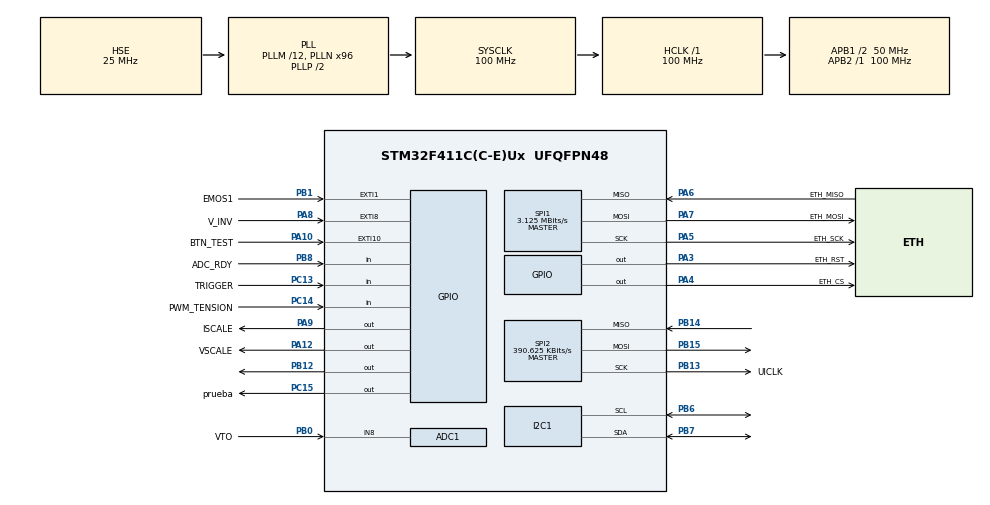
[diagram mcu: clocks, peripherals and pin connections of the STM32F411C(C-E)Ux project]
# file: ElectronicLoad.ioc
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ADC1.Channel-0\#ChannelRegularConversion=ADC_CHANNEL_8
ADC1.ContinuousConvMode=ENABLE
ADC1.NbrOfConversion=1
ADC1.NbrOfConversionFlag=1
ADC1.Rank-0\#ChannelRegularConversion=1
ADC1.SamplingTime-0\#ChannelRegularConversion=ADC_SAMPLETIME_3CYCLES
ADC1.master=1
FREERTOS.BinarySemaphores01=sph_pid_mediciones,Dynamic,NULL;sph_eth_mediciones,Dynamic,NULL;sph_ctrl_curva,Dynamic,NULL
FREERTOS.INCLUDE_vTaskDelayUntil=1
FREERTOS.Tasks01=defaultTask,0,256,StartDefaultTask,Default,NULL,Dynamic,NULL,NULL;medicion,1,256,medicion_variables,Default,NULL,Dynamic,NULL,NULL;comunicacion,-1,512,comunicacion_spi,Default,NULL,Dynamic,NULL,NULL;pid_task,1,256,pid_control,Default,NULL,Dynamic,NULL,NULL;Task_eth,0,4096,eth_task,Default,NULL,Dynamic,NULL,NULL;control_curva,2,256,cb_control_curva,Default,NULL,Dynamic,NULL,NULL
FREERTOS.configCHECK_FOR_STACK_OVERFLOW=0
FREERTOS.configTOTAL_HEAP_SIZE=32768
FREERTOS.configUSE_IDLE_HOOK=0
Mcu.Family=STM32F4
Mcu.Name=STM32F411C(C-E)Ux
Mcu.Package=UFQFPN48
NVIC.EXTI15_10_IRQn=true\:6\:0\:true\:false\:true\:true\:true\:true\:true
NVIC.EXTI1_IRQn=true\:6\:0\:true\:false\:true\:true\:true\:true\:true
NVIC.EXTI9_5_IRQn=true\:5\:0\:true\:false\:true\:true\:true\:true\:true
NVIC.PriorityGroup=NVIC_PRIORITYGROUP_4
PA10.GPIO_Label=BTN_TEST
PA10.GPIO_ModeDefaultEXTI=GPIO_MODE_IT_RISING_FALLING
PA10.GPIO_PuPd=GPIO_PULLUP
PA10.Signal=GPXTI10
PA12.GPIO_Label=VSCALE
PA12.Signal=GPIO_Output
PA13.Mode=Serial_Wire
PA13.Signal=SYS_JTMS-SWDIO
PA14.Mode=Serial_Wire
PA14.Signal=SYS_JTCK-SWCLK
PA3.GPIO_Label=ETH_RST
PA3.GPIO_PuPd=GPIO_PULLUP
PA3.GPIO_Speed=GPIO_SPEED_FREQ_HIGH
PA3.PinState=GPIO_PIN_SET
PA3.Signal=GPIO_Output
PA4.GPIO_Label=ETH_CS
PA4.GPIO_Speed=GPIO_SPEED_FREQ_HIGH
PA4.Signal=GPIO_Output
PA5.GPIO_Label=ETH_SCK
PA5.Mode=Full_Duplex_Master
PA5.Signal=SPI1_SCK
PA6.GPIO_Label=ETH_MISO
PA6.Mode=Full_Duplex_Master
PA6.Signal=SPI1_MISO
PA7.GPIO_Label=ETH_MOSI
PA7.Mode=Full_Duplex_Master
PA7.Signal=SPI1_MOSI
PA8.GPIO_Label=V_INV
PA8.GPIO_ModeDefaultEXTI=GPIO_MODE_IT_RISING_FALLING
PA8.GPIO_PuPd=GPIO_NOPULL
PA8.Signal=GPXTI8
PA9.GPIO_Label=ISCALE
PA9.Signal=GPIO_Output
PB0.GPIO_Label=VTO
PB0.Signal=ADCx_IN8
PB1.GPIO_Label=EMOS1
PB1.GPIO_ModeDefaultEXTI=GPIO_MODE_IT_RISING_FALLING
PB1.GPIO_PuPd=GPIO_PULLDOWN
PB1.Signal=GPXTI1
PB12.PinState=GPIO_PIN_RESET
PB12.Signal=GPIO_Output
PB13.GPIO_Label=UICLK
PB13.Mode=Full_Duplex_Master
PB13.Signal=SPI2_SCK
PB14.Mode=Full_Duplex_Master
PB14.Signal=SPI2_MISO
PB15.Mode=Full_Duplex_Master
PB15.Signal=SPI2_MOSI
PB6.Mode=I2C
PB6.Signal=I2C1_SCL
PB7.Mode=I2C
PB7.Signal=I2C1_SDA
PB8.GPIO_Label=ADC_RDY
PB8.GPIO_PuPd=GPIO_PULLUP
PB8.Signal=GPIO_Input
PC13-ANTI_TAMP.GPIO_Label=TRIGGER
PC13-ANTI_TAMP.Signal=GPIO_Input
PC14-OSC32_IN.GPIO_Label=PWM_TENSION
PC14-OSC32_IN.Signal=GPIO_Input
PC15-OSC32_OUT.GPIO_Label=prueba
PC15-OSC32_OUT.Signal=GPIO_Output
PH0\ -\ OSC_IN.Mode=HSE-External-Oscillator
PH0\ -\ OSC_IN.Signal=RCC_OSC_IN
PH1\ -\ OSC_OUT.Mode=HSE-External-Oscillator
PH1\ -\ OSC_OUT.Signal=RCC_OSC_OUT
ProjectManager.HeapSize=0x200
ProjectManager.StackSize=0x400
ProjectManager.TargetToolchain=STM32CubeIDE
RCC.48MHZClocksFreq_Value=50000000
RCC.AHBFreq_Value=100000000
RCC.APB1CLKDivider=RCC_HCLK_DIV2
RCC.APB1Freq_Value=50000000
RCC.APB1TimFreq_Value=100000000
RCC.APB2Freq_Value=100000000
RCC.APB2TimFreq_Value=100000000
RCC.CortexFreq_Value=100000000
RCC.HCLKFreq_Value=100000000
RCC.HSE_VALUE=25000000
RCC.HSI_VALUE=16000000
RCC.LSE_VALUE=32768
RCC.PLLM=12
RCC.PLLN=96
RCC.PLLSourceVirtual=RCC_PLLSOURCE_HSE
RCC.SYSCLKFreq_VALUE=100000000
RCC.SYSCLKSource=RCC_SYSCLKSOURCE_PLLCLK
RCC.VCOOutputFreq_Value=200000000
RTC.Date=12
RTC.Format=RTC_FORMAT_BIN
RTC.Hours=23
RTC.Minutes=17
RTC.Month=RTC_MONTH_FEBRUARY
RTC.Seconds=10
RTC.Year=24
SH.ADCx_IN8.0=ADC1_IN8,IN8
SPI1.BaudRatePrescaler=SPI_BAUDRATEPRESCALER_32
SPI1.CalculateBaudRate=3.125 MBits/s
SPI1.Direction=SPI_DIRECTION_2LINES
SPI1.Mode=SPI_MODE_MASTER
SPI1.VirtualType=VM_MASTER
SPI2.BaudRatePrescaler=SPI_BAUDRATEPRESCALER_128
SPI2.CLKPhase=SPI_PHASE_1EDGE
SPI2.CLKPolarity=SPI_POLARITY_LOW
SPI2.CalculateBaudRate=390.625 KBits/s
SPI2.DataSize=SPI_DATASIZE_8BIT
SPI2.Direction=SPI_DIRECTION_2LINES
SPI2.FirstBit=SPI_FIRSTBIT_MSB
SPI2.Mode=SPI_MODE_MASTER
SPI2.VirtualType=VM_MASTER
TIM2.Channel-PWM\ Generation1\ No\ Output=TIM_CHANNEL_1
VP_FREERTOS_VS_CMSIS_V1.Mode=CMSIS_V1
VP_RTC_VS_RTC_Activate.Mode=RTC_Enabled
VP_RTC_VS_RTC_Calendar.Mode=RTC_Calendar
VP_TIM2_VS_ClockSourceINT.Mode=Internal
VP_TIM2_VS_no_output1.Mode=PWM Generation1 No Output
board=custom

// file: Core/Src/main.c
/* USER CODE BEGIN Header */
/**
 ******************************************************************************
 * @file           : main.c
 * @brief          : Main program body
 ******************************************************************************
 * @attention
 *
 * Copyright (c) 2023 STMicroelectronics.
 * All rights reserved.
 *
 * This software is licensed under terms that can be found in the LICENSE file
 * in the root directory of this software component.
 * If no LICENSE file comes with this software, it is provided AS-IS.
 *
 ******************************************************************************
 */
/* USER CODE END Header */
#include "main.h"
#include "cmsis_os.h"

/* USER CODE BEGIN Includes */
#include "stdio.h"
#include "stdbool.h"
#include "stdlib.h"
#include "string.h"
#include "adc_function.h"

/* USER CODE END Includes */

/* USER CODE BEGIN PTD */
/* Modos funcionamiento carga electronica */
enum modos_carga
{
    m_apagado = 0,
    m_corriente_off,
	m_corriente_on,
    m_tension_off,
	m_tension_on,
    m_potencia_off,
	m_potencia_on,
	m_corriente_curva_off,
	m_corriente_curva_on,
	m_max
};
/* Errores que puede detectar la carga electronica */
union errores_carga{
	struct {
		uint8_t e_polaridadinversa :1;
		uint8_t e_mosfet:1;
		uint8_t e_expansion:1;
		uint8_t e_eth:1;
		uint8_t e_control:1;
		uint8_t e_temp:1;
		uint8_t e_corriente:1;
		uint8_t e_tension:1;
		uint8_t e_potencia:1;
	};
	uint32_t completo;
};
/* Estructura estado modo de la carga electronica */
/* valor para corriente_constante en mA */
typedef struct
{
  enum modos_carga modo;        /* Modo de trabajo de la carga electronica */
  union errores_carga error;	/* Errores carga electronica */
  uint32_t valorTension;   		/* Valor de Tension de la carga electronica */
  uint32_t valorCorriente; 		/* Valor de Corriente de la carga electronica */
  uint32_t valorPotencia;  		/* Set point Potencia de la carga electronica */
  uint32_t setPoint;       		/* Set point de la carga electronica */
  char flagTrigger;
  char flagFecha;
  uint32_t temperatura;

} CARGA_HandleTypeDef;

/* Estructura mediciones de la carga electronica */
typedef struct{
	float tension;
	float corriente;
	float potencia;
} MEDICIONES_TypeDef;

/* Estructura pid */
typedef struct{
	uint32_t referencia;
	enum modos_carga modo;

} PID_TypeDef;

/* USER CODE END PTD */

/* USER CODE BEGIN PD */
// Definiciones DAC - MCP4725
#define MCP4725_ADDR 0b1100000 << 1
#define MASK_DAC_READ 0b00001111

// Definiciones PID
#define PID_A 0.12
#define PID_B 0.08
#define PID_C 0.01
#define PID_MAX 3000
#define PID_MIN 0
#define PID_SETPOINT 0.0

/* USER CODE END PD */

ADC_HandleTypeDef hadc1;

I2C_HandleTypeDef hi2c1;

RTC_HandleTypeDef hrtc;

SPI_HandleTypeDef hspi1;
SPI_HandleTypeDef hspi2;

TIM_HandleTypeDef htim2;

osThreadId defaultTaskHandle;
osThreadId medicionHandle;
osThreadId comunicacionHandle;
osThreadId pid_taskHandle;
osThreadId Task_ethHandle;
osThreadId control_curvaHandle;
osSemaphoreId sph_pid_medicionesHandle;
osSemaphoreId sph_eth_medicionesHandle;
osSemaphoreId sph_ctrl_curvaHandle;
/* USER CODE BEGIN PV */

//mpool y cola para transmision de datos a GUI
osPoolDef(mpool, 5, char[21]); // Define memory pool
osPoolId mpool;
osMessageQDef(colaSPI_TX, 5, uint32_t); // Define message queue
osMessageQId colaSPI_TX;

//mpool y cola para transmision de datos a tarea Carga control
osPoolDef(mpoolCARGA_Handle, 5, CARGA_HandleTypeDef); // Define memory pool
osPoolId mpoolCARGA_Handle;
osMessageQDef(colaCARGA, 5, uint32_t); // Define message queue
osMessageQId colaCARGA;

//mpool y cola para transmision de mediciones corriente, tension y potencia
osPoolDef(mpoolMediciones_pid, 5, MEDICIONES_TypeDef); // Define memory pool
osPoolId mpoolMediciones_pid;
osPoolDef(mpoolMediciones, 1, MEDICIONES_TypeDef); // Define memory pool
osPoolId mpoolMediciones;
osPoolDef(mpoolMediciones_eth, 1, MEDICIONES_TypeDef); // Define memory pool
osPoolId mpoolMediciones_eth;
osMessageQDef(colaMediciones, 1, uint32_t); // Define message queue
osMessageQId colaMediciones;
osMessageQDef(colaMediciones_pid, 1, uint32_t); // Define message queue
osMessageQId colaMediciones_pid;
osMessageQDef(colaMediciones_eth, 1, uint32_t); // Define message queue
osMessageQId colaMediciones_eth;

//mpool y cola para transmision de setpoint y modo a pid
osPoolDef(mpoolPID, 15, PID_TypeDef); // Define memory pool
osPoolId mpoolPID;
osMessageQDef(colaPID,15,uint32_t); // Define message queue
osMessageQId colaPID;

//cola para transmision de errores a tarea Carga control
osMessageQDef(colaErrores,5,uint32_t);// Define message queue
osMessageQId colaErrores;

//cola con datos para curva
osPoolDef(mpoolCurva,1,char[100]);
osPoolId mpoolCurva;
osMessageQDef(colaCurva,1,uint32_t);
osMessageQId colaCurva;

// Definiciones para RTC
RTC_TimeTypeDef sTime;
RTC_DateTypeDef sDate;

/* USER CODE END PV */

void SystemClock_Config(void);
static void MX_GPIO_Init(void);
static void MX_ADC1_Init(void);
static void MX_I2C1_Init(void);
static void MX_SPI2_Init(void);
static void MX_RTC_Init(void);
static void MX_SPI1_Init(void);
static void MX_TIM2_Init(void);
void StartDefaultTask(void const * argument);
void medicion_variables(void const * argument);
void comunicacion_spi(void const * argument);
void pid_control(void const * argument);
void eth_task(void const * argument);
void cb_control_curva(void const * argument);

/* USER CODE BEGIN PFP */
/* Prototipos funciones DAC MCP4725 I2C */
void DAC_init(void);
void DAC_set(float setPoint);

/* Prototipos funciones ethernet */
extern void httpServer_run(uint8_t seqnum);
extern void eth_start(void);

/* Prototipos tareas */
void eth_task (void const * argument); //tarea ethernet
/* USER CODE END PFP */

int main(void)
{

  /* MCU Configuration--------------------------------------------------------*/

  /* Reset of all peripherals, Initializes the Flash interface and the Systick. */
  HAL_Init();

  /* Configure the system clock */
  SystemClock_Config();

  /* Initialize all configured peripherals */
  MX_GPIO_Init();
  MX_ADC1_Init();
  MX_I2C1_Init();
  MX_SPI2_Init();
  MX_RTC_Init();
  MX_SPI1_Init();
  MX_TIM2_Init();

  /* Create the semaphores(s) */
  /* definition and creation of sph_pid_mediciones */
  osSemaphoreDef(sph_pid_mediciones);
  sph_pid_medicionesHandle = osSemaphoreCreate(osSemaphore(sph_pid_mediciones), 1);

  /* definition and creation of sph_eth_mediciones */
  osSemaphoreDef(sph_eth_mediciones);
  sph_eth_medicionesHandle = osSemaphoreCreate(osSemaphore(sph_eth_mediciones), 1);

  /* definition and creation of sph_ctrl_curva */
  osSemaphoreDef(sph_ctrl_curva);
  sph_ctrl_curvaHandle = osSemaphoreCreate(osSemaphore(sph_ctrl_curva), 1);

  /* USER CODE BEGIN RTOS_QUEUES */
  /* add queues, ... */
  mpool = osPoolCreate(osPool(mpool));                        // create memory pool
  colaSPI_TX = osMessageCreate(osMessageQ(colaSPI_TX), NULL); // create colaSPI_TX queue

  mpoolCARGA_Handle = osPoolCreate(osPool(mpoolCARGA_Handle));// create memory pool
  colaCARGA = osMessageCreate(osMessageQ(colaCARGA), NULL); // create colaCARGA queue

  mpoolMediciones = osPoolCreate(osPool(mpoolMediciones));// create memory pool
  mpoolMediciones_pid = osPoolCreate(osPool(mpoolMediciones_pid));// create memory pool
  mpoolMediciones_eth = osPoolCreate(osPool(mpoolMediciones_eth));// create memory pool

  colaMediciones = osMessageCreate(osMessageQ(colaMediciones), NULL); // create colaMediciones queue
  colaMediciones_pid = osMessageCreate(osMessageQ(colaMediciones_pid), NULL); // create colaMediciones_pid queue
  colaMediciones_eth = osMessageCreate(osMessageQ(colaMediciones_eth), NULL); // create colaMediciones_pid queue

  mpoolPID = osPoolCreate(osPool(mpoolPID));// create memory pool
  colaPID = osMessageCreate(osMessageQ(colaPID), NULL);// create colaPID queue

  colaErrores = osMessageCreate(osMessageQ(colaErrores), NULL);// Create colaErrores queue

  mpoolCurva = osPoolCreate(osPool(mpoolCurva)); // create memory pool
  colaCurva = osMessageCreate(osMessageQ(colaCurva), NULL);
  /* USER CODE END RTOS_QUEUES */

  /* Create the thread(s) */
  /* definition and creation of defaultTask */
  osThreadDef(defaultTask, StartDefaultTask, osPriorityNormal, 0, 256);
  defaultTaskHandle = osThreadCreate(osThread(defaultTask), NULL);

  /* definition and creation of medicion */
  osThreadDef(medicion, medicion_variables, osPriorityAboveNormal, 0, 256);
  medicionHandle = osThreadCreate(osThread(medicion), NULL);

  /* definition and creation of comunicacion */
  osThreadDef(comunicacion, comunicacion_spi, osPriorityBelowNormal, 0, 512);
  comunicacionHandle = osThreadCreate(osThread(comunicacion), NULL);

  /* definition and creation of pid_task */
  osThreadDef(pid_task, pid_control, osPriorityAboveNormal, 0, 256);
  pid_taskHandle = osThreadCreate(osThread(pid_task), NULL);

  /* definition and creation of Task_eth */
  osThreadDef(Task_eth, eth_task, osPriorityNormal, 0, 4096);
  Task_ethHandle = osThreadCreate(osThread(Task_eth), NULL);

  /* definition and creation of control_curva */
  osThreadDef(control_curva, cb_control_curva, osPriorityHigh, 0, 256);
  control_curvaHandle = osThreadCreate(osThread(control_curva), NULL);

  /* Start scheduler */
  osKernelStart();

  /* We should never get here as control is now taken by the scheduler */
  /* Infinite loop */
  while (1)
  {

  }
}

void SystemClock_Config(void)
{
  RCC_OscInitTypeDef RCC_OscInitStruct = {0};
  RCC_ClkInitTypeDef RCC_ClkInitStruct = {0};

  /** Configure the main internal regulator output voltage
  */
  __HAL_RCC_PWR_CLK_ENABLE();
  __HAL_PWR_VOLTAGESCALING_CONFIG(PWR_REGULATOR_VOLTAGE_SCALE1);

  /** Initializes the RCC Oscillators according to the specified parameters
  * in the RCC_OscInitTypeDef structure.
  */
  RCC_OscInitStruct.OscillatorType = RCC_OSCILLATORTYPE_LSI|RCC_OSCILLATORTYPE_HSE;
  RCC_OscInitStruct.HSEState = RCC_HSE_ON;
  RCC_OscInitStruct.LSIState = RCC_LSI_ON;
  RCC_OscInitStruct.PLL.PLLState = RCC_PLL_ON;
  RCC_OscInitStruct.PLL.PLLSource = RCC_PLLSOURCE_HSE;
  RCC_OscInitStruct.PLL.PLLM = 12;
  RCC_OscInitStruct.PLL.PLLN = 96;
  RCC_OscInitStruct.PLL.PLLP = RCC_PLLP_DIV2;
  RCC_OscInitStruct.PLL.PLLQ = 4;
  if (HAL_RCC_OscConfig(&RCC_OscInitStruct) != HAL_OK)
  {
    Error_Handler();
  }

  /** Initializes the CPU, AHB and APB buses clocks
  */
  RCC_ClkInitStruct.ClockType = RCC_CLOCKTYPE_HCLK|RCC_CLOCKTYPE_SYSCLK
                              |RCC_CLOCKTYPE_PCLK1|RCC_CLOCKTYPE_PCLK2;
  RCC_ClkInitStruct.SYSCLKSource = RCC_SYSCLKSOURCE_PLLCLK;
  RCC_ClkInitStruct.AHBCLKDivider = RCC_SYSCLK_DIV1;
  RCC_ClkInitStruct.APB1CLKDivider = RCC_HCLK_DIV2;
  RCC_ClkInitStruct.APB2CLKDivider = RCC_HCLK_DIV1;

  if (HAL_RCC_ClockConfig(&RCC_ClkInitStruct, FLASH_LATENCY_3) != HAL_OK)
  {
    Error_Handler();
  }
}

static void MX_ADC1_Init(void)
{

  ADC_ChannelConfTypeDef sConfig = {0};

  /** Configure the global features of the ADC (Clock, Resolution, Data Alignment and number of conversion)
  */
  hadc1.Instance = ADC1;
  hadc1.Init.ClockPrescaler = ADC_CLOCK_SYNC_PCLK_DIV4;
  hadc1.Init.Resolution = ADC_RESOLUTION_12B;
  hadc1.Init.ScanConvMode = DISABLE;
  hadc1.Init.ContinuousConvMode = ENABLE;
  hadc1.Init.DiscontinuousConvMode = DISABLE;
  hadc1.Init.ExternalTrigConvEdge = ADC_EXTERNALTRIGCONVEDGE_NONE;
  hadc1.Init.ExternalTrigConv = ADC_SOFTWARE_START;
  hadc1.Init.DataAlign = ADC_DATAALIGN_RIGHT;
  hadc1.Init.NbrOfConversion = 1;
  hadc1.Init.DMAContinuousRequests = DISABLE;
  hadc1.Init.EOCSelection = ADC_EOC_SINGLE_CONV;
  if (HAL_ADC_Init(&hadc1) != HAL_OK)
  {
    Error_Handler();
  }

  /** Configure for the selected ADC regular channel its corresponding rank in the sequencer and its sample time.
  */
  sConfig.Channel = ADC_CHANNEL_8;
  sConfig.Rank = 1;
  sConfig.SamplingTime = ADC_SAMPLETIME_3CYCLES;
  if (HAL_ADC_ConfigChannel(&hadc1, &sConfig) != HAL_OK)
  {
    Error_Handler();
  }

}

static void MX_I2C1_Init(void)
{

  hi2c1.Instance = I2C1;
  hi2c1.Init.ClockSpeed = 100000;
  hi2c1.Init.DutyCycle = I2C_DUTYCYCLE_2;
  hi2c1.Init.OwnAddress1 = 0;
  hi2c1.Init.AddressingMode = I2C_ADDRESSINGMODE_7BIT;
  hi2c1.Init.DualAddressMode = I2C_DUALADDRESS_DISABLE;
  hi2c1.Init.OwnAddress2 = 0;
  hi2c1.Init.GeneralCallMode = I2C_GENERALCALL_DISABLE;
  hi2c1.Init.NoStretchMode = I2C_NOSTRETCH_DISABLE;
  if (HAL_I2C_Init(&hi2c1) != HAL_OK)
  {
    Error_Handler();
  }

}

static void MX_RTC_Init(void)
{

  RTC_TimeTypeDef sTime = {0};
  RTC_DateTypeDef sDate = {0};

  /** Initialize RTC Only
  */
  hrtc.Instance = RTC;
  hrtc.Init.HourFormat = RTC_HOURFORMAT_24;
  hrtc.Init.AsynchPrediv = 127;
  hrtc.Init.SynchPrediv = 255;
  hrtc.Init.OutPut = RTC_OUTPUT_DISABLE;
  hrtc.Init.OutPutPolarity = RTC_OUTPUT_POLARITY_HIGH;
  hrtc.Init.OutPutType = RTC_OUTPUT_TYPE_OPENDRAIN;
  if (HAL_RTC_Init(&hrtc) != HAL_OK)
  {
    Error_Handler();
  }

  /** Initialize RTC and set the Time and Date
  */
  sTime.Hours = 23;
  sTime.Minutes = 17;
  sTime.Seconds = 10;
  sTime.DayLightSaving = RTC_DAYLIGHTSAVING_NONE;
  sTime.StoreOperation = RTC_STOREOPERATION_RESET;
  if (HAL_RTC_SetTime(&hrtc, &sTime, RTC_FORMAT_BIN) != HAL_OK)
  {
    Error_Handler();
  }
  sDate.WeekDay = RTC_WEEKDAY_MONDAY;
  sDate.Month = RTC_MONTH_FEBRUARY;
  sDate.Date = 12;
  sDate.Year = 24;

  if (HAL_RTC_SetDate(&hrtc, &sDate, RTC_FORMAT_BIN) != HAL_OK)
  {
    Error_Handler();
  }

}

static void MX_SPI1_Init(void)
{

  /* SPI1 parameter configuration*/
  hspi1.Instance = SPI1;
  hspi1.Init.Mode = SPI_MODE_MASTER;
  hspi1.Init.Direction = SPI_DIRECTION_2LINES;
  hspi1.Init.DataSize = SPI_DATASIZE_8BIT;
  hspi1.Init.CLKPolarity = SPI_POLARITY_LOW;
  hspi1.Init.CLKPhase = SPI_PHASE_1EDGE;
  hspi1.Init.NSS = SPI_NSS_SOFT;
  hspi1.Init.BaudRatePrescaler = SPI_BAUDRATEPRESCALER_32;
  hspi1.Init.FirstBit = SPI_FIRSTBIT_MSB;
  hspi1.Init.TIMode = SPI_TIMODE_DISABLE;
  hspi1.Init.CRCCalculation = SPI_CRCCALCULATION_DISABLE;
  hspi1.Init.CRCPolynomial = 10;
  if (HAL_SPI_Init(&hspi1) != HAL_OK)
  {
    Error_Handler();
  }

}

static void MX_SPI2_Init(void)
{

  /* SPI2 parameter configuration*/
  hspi2.Instance = SPI2;
  hspi2.Init.Mode = SPI_MODE_MASTER;
  hspi2.Init.Direction = SPI_DIRECTION_2LINES;
  hspi2.Init.DataSize = SPI_DATASIZE_8BIT;
  hspi2.Init.CLKPolarity = SPI_POLARITY_LOW;
  hspi2.Init.CLKPhase = SPI_PHASE_1EDGE;
  hspi2.Init.NSS = SPI_NSS_SOFT;
  hspi2.Init.BaudRatePrescaler = SPI_BAUDRATEPRESCALER_128;
  hspi2.Init.FirstBit = SPI_FIRSTBIT_MSB;
  hspi2.Init.TIMode = SPI_TIMODE_DISABLE;
  hspi2.Init.CRCCalculation = SPI_CRCCALCULATION_DISABLE;
  hspi2.Init.CRCPolynomial = 10;
  if (HAL_SPI_Init(&hspi2) != HAL_OK)
  {
    Error_Handler();
  }

}

static void MX_TIM2_Init(void)
{

  TIM_ClockConfigTypeDef sClockSourceConfig = {0};
  TIM_MasterConfigTypeDef sMasterConfig = {0};
  TIM_OC_InitTypeDef sConfigOC = {0};

  htim2.Instance = TIM2;
  htim2.Init.Prescaler = 0;
  htim2.Init.CounterMode = TIM_COUNTERMODE_UP;
  htim2.Init.Period = 4294967295;
  htim2.Init.ClockDivision = TIM_CLOCKDIVISION_DIV1;
  htim2.Init.AutoReloadPreload = TIM_AUTORELOAD_PRELOAD_DISABLE;
  if (HAL_TIM_Base_Init(&htim2) != HAL_OK)
  {
    Error_Handler();
  }
  sClockSourceConfig.ClockSource = TIM_CLOCKSOURCE_INTERNAL;
  if (HAL_TIM_ConfigClockSource(&htim2, &sClockSourceConfig) != HAL_OK)
  {
    Error_Handler();
  }
  if (HAL_TIM_PWM_Init(&htim2) != HAL_OK)
  {
    Error_Handler();
  }
  sMasterConfig.MasterOutputTrigger = TIM_TRGO_RESET;
  sMasterConfig.MasterSlaveMode = TIM_MASTERSLAVEMODE_DISABLE;
  if (HAL_TIMEx_MasterConfigSynchronization(&htim2, &sMasterConfig) != HAL_OK)
  {
    Error_Handler();
  }
  sConfigOC.OCMode = TIM_OCMODE_PWM1;
  sConfigOC.Pulse = 0;
  sConfigOC.OCPolarity = TIM_OCPOLARITY_HIGH;
  sConfigOC.OCFastMode = TIM_OCFAST_DISABLE;
  if (HAL_TIM_PWM_ConfigChannel(&htim2, &sConfigOC, TIM_CHANNEL_1) != HAL_OK)
  {
    Error_Handler();
  }

}

static void MX_GPIO_Init(void)
{
  GPIO_InitTypeDef GPIO_InitStruct = {0};

  /* GPIO Ports Clock Enable */
  __HAL_RCC_GPIOC_CLK_ENABLE();
  __HAL_RCC_GPIOH_CLK_ENABLE();
  __HAL_RCC_GPIOA_CLK_ENABLE();
  __HAL_RCC_GPIOB_CLK_ENABLE();

  /*Configure GPIO pin Output Level */
  HAL_GPIO_WritePin(prueba_GPIO_Port, prueba_Pin, GPIO_PIN_RESET);

  /*Configure GPIO pin Output Level */
  HAL_GPIO_WritePin(ETH_RST_GPIO_Port, ETH_RST_Pin, GPIO_PIN_SET);

  /*Configure GPIO pin Output Level */
  HAL_GPIO_WritePin(GPIOA, ETH_CS_Pin|ISCALE_Pin|VSCALE_Pin, GPIO_PIN_RESET);

  /*Configure GPIO pin Output Level */
  HAL_GPIO_WritePin(GPIOB, GPIO_PIN_12, GPIO_PIN_RESET);

  /*Configure GPIO pins : TRIGGER_Pin PWM_TENSION_Pin */
  GPIO_InitStruct.Pin = TRIGGER_Pin|PWM_TENSION_Pin;
  GPIO_InitStruct.Mode = GPIO_MODE_INPUT;
  GPIO_InitStruct.Pull = GPIO_NOPULL;
  HAL_GPIO_Init(GPIOC, &GPIO_InitStruct);

  /*Configure GPIO pin : prueba_Pin */
  GPIO_InitStruct.Pin = prueba_Pin;
  GPIO_InitStruct.Mode = GPIO_MODE_OUTPUT_PP;
  GPIO_InitStruct.Pull = GPIO_NOPULL;
  GPIO_InitStruct.Speed = GPIO_SPEED_FREQ_LOW;
  HAL_GPIO_Init(prueba_GPIO_Port, &GPIO_InitStruct);

  /*Configure GPIO pin : ETH_RST_Pin */
  GPIO_InitStruct.Pin = ETH_RST_Pin;
  GPIO_InitStruct.Mode = GPIO_MODE_OUTPUT_PP;
  GPIO_InitStruct.Pull = GPIO_PULLUP;
  GPIO_InitStruct.Speed = GPIO_SPEED_FREQ_HIGH;
  HAL_GPIO_Init(ETH_RST_GPIO_Port, &GPIO_InitStruct);

  /*Configure GPIO pin : ETH_CS_Pin */
  GPIO_InitStruct.Pin = ETH_CS_Pin;
  GPIO_InitStruct.Mode = GPIO_MODE_OUTPUT_PP;
  GPIO_InitStruct.Pull = GPIO_NOPULL;
  GPIO_InitStruct.Speed = GPIO_SPEED_FREQ_HIGH;
  HAL_GPIO_Init(ETH_CS_GPIO_Port, &GPIO_InitStruct);

  /*Configure GPIO pin : EMOS1_Pin */
  GPIO_InitStruct.Pin = EMOS1_Pin;
  GPIO_InitStruct.Mode = GPIO_MODE_IT_RISING_FALLING;
  GPIO_InitStruct.Pull = GPIO_PULLDOWN;
  HAL_GPIO_Init(EMOS1_GPIO_Port, &GPIO_InitStruct);

  /*Configure GPIO pin : PB12 */
  GPIO_InitStruct.Pin = GPIO_PIN_12;
  GPIO_InitStruct.Mode = GPIO_MODE_OUTPUT_PP;
  GPIO_InitStruct.Pull = GPIO_NOPULL;
  GPIO_InitStruct.Speed = GPIO_SPEED_FREQ_LOW;
  HAL_GPIO_Init(GPIOB, &GPIO_InitStruct);

  /*Configure GPIO pin : V_INV_Pin */
  GPIO_InitStruct.Pin = V_INV_Pin;
  GPIO_InitStruct.Mode = GPIO_MODE_IT_RISING_FALLING;
  GPIO_InitStruct.Pull = GPIO_NOPULL;
  HAL_GPIO_Init(V_INV_GPIO_Port, &GPIO_InitStruct);

  /*Configure GPIO pins : ISCALE_Pin VSCALE_Pin */
  GPIO_InitStruct.Pin = ISCALE_Pin|VSCALE_Pin;
  GPIO_InitStruct.Mode = GPIO_MODE_OUTPUT_PP;
  GPIO_InitStruct.Pull = GPIO_NOPULL;
  GPIO_InitStruct.Speed = GPIO_SPEED_FREQ_LOW;
  HAL_GPIO_Init(GPIOA, &GPIO_InitStruct);

  /*Configure GPIO pin : BTN_TEST_Pin */
  GPIO_InitStruct.Pin = BTN_TEST_Pin;
  GPIO_InitStruct.Mode = GPIO_MODE_IT_RISING_FALLING;
  GPIO_InitStruct.Pull = GPIO_PULLUP;
  HAL_GPIO_Init(BTN_TEST_GPIO_Port, &GPIO_InitStruct);

  /*Configure GPIO pin : ADC_RDY_Pin */
  GPIO_InitStruct.Pin = ADC_RDY_Pin;
  GPIO_InitStruct.Mode = GPIO_MODE_INPUT;
  GPIO_InitStruct.Pull = GPIO_PULLUP;
  HAL_GPIO_Init(ADC_RDY_GPIO_Port, &GPIO_InitStruct);

  /* EXTI interrupt init*/
  HAL_NVIC_SetPriority(EXTI1_IRQn, 6, 0);
  HAL_NVIC_EnableIRQ(EXTI1_IRQn);

  HAL_NVIC_SetPriority(EXTI9_5_IRQn, 5, 0);
  HAL_NVIC_EnableIRQ(EXTI9_5_IRQn);

  HAL_NVIC_SetPriority(EXTI15_10_IRQn, 6, 0);
  HAL_NVIC_EnableIRQ(EXTI15_10_IRQn);

}

/* USER CODE BEGIN 4 */
/**
 * @brief DAC Inicializacion
 * @param None
 * @retval None
 */
void DAC_init(void)
{
  // Leer EEPROM y checkear que este en 0; Sino cambiarlo.
  uint16_t i2cRX;

  uint8_t buffer[5];
  memset(buffer, 0, 5);
  HAL_I2C_Master_Transmit(&hi2c1, MCP4725_ADDR, buffer, 2, HAL_MAX_DELAY);
  HAL_I2C_Master_Receive(&hi2c1, MCP4725_ADDR, buffer, 5, HAL_MAX_DELAY);
  // Cargo el valor recibido del buffer a una variable para tener el valor de la eeprom.
  i2cRX = (buffer[3] << 8) | buffer[4];
  // Mascareo de rutix
  i2cRX &= MASK_DAC_READ;

  // Si el valor de la eeprom no es 0 lo cargo.
  if (i2cRX)
  {
    buffer[0] = 0b01100000;
    buffer[1] = 0;
    buffer[2] = 0;
    HAL_I2C_Master_Transmit(&hi2c1, MCP4725_ADDR, buffer, 3, HAL_MAX_DELAY);
    do
    {
      i2cRX = HAL_I2C_Master_Receive(&hi2c1, MCP4725_ADDR, buffer, 1, HAL_MAX_DELAY) && 0b10000000;
    } while (!i2cRX);
  }
  else
  {
    // Reset
    buffer[0] = 0;
    buffer[1] = 0;
    HAL_I2C_Master_Transmit(&hi2c1, MCP4725_ADDR, buffer, 2, HAL_MAX_DELAY);
  }
}

/**
 * @brief DAC Set
 * @param Setpoint - valor salida DAC en mV
 * @retval None
 */
void DAC_set(float setPoint)
{ // setPoint = valor en mV.
  uint8_t buffer[2];

  if (setPoint < 0 || setPoint >= 5000){
	  HAL_I2C_Master_Transmit(&hi2c1, MCP4725_ADDR, 0, 2, HAL_MAX_DELAY);
	  return;
  }

  setPoint = ((setPoint) * 4096) / 5000;
  buffer[0] = ((uint16_t)setPoint) >> 8;
  buffer[1] = ((uint16_t)setPoint);
  HAL_I2C_Master_Transmit(&hi2c1, MCP4725_ADDR, buffer, 2, HAL_MAX_DELAY);
}

void HAL_GPIO_EXTI_Callback(uint16_t GPIO_Pin)
{
	union errores_carga error;
	error.completo = 0;

	/* Interrupcion prueba btn_test */
	if(GPIO_Pin == BTN_TEST_Pin || GPIO_Pin == V_INV_Pin){
		if(HAL_GPIO_ReadPin(BTN_TEST_GPIO_Port, BTN_TEST_Pin) == GPIO_PIN_RESET || \
				HAL_GPIO_ReadPin(V_INV_GPIO_Port, V_INV_Pin) == GPIO_PIN_SET){
			error.e_polaridadinversa = true;
			osMessagePut(colaErrores,error.completo, 0);
		}
		else{
			error.e_polaridadinversa = true;
			osMessagePut(colaErrores,error.completo, 0);
		}
	} else {
		__NOP();
	}

	/* Interrupcion error mosfet */
	if(GPIO_Pin == EMOS1_Pin){
		if(HAL_GPIO_ReadPin(EMOS1_GPIO_Port, EMOS1_Pin) == GPIO_PIN_SET){
			error.e_mosfet = true;
			osMessagePut(colaErrores,error.completo, 0);
		}
		else{
			error.e_mosfet = true;
			osMessagePut(colaErrores,error.completo, 0);
		}
	} else {
		__NOP();
	}
}
/* USER CODE END 4 */

void StartDefaultTask(void const * argument)
{
  /* USER CODE BEGIN 5 */
	//osDelayUntil
	uint32_t previosWakeTime = osKernelSysTick();

	uint8_t c_error = 0, c_temp = 0;

	// Variables
	static CARGA_HandleTypeDef CARGAPresente;
	CARGA_HandleTypeDef *CARGAUpdate;
	osEvent evt;

	//flag fecha actualizada
	bool fecha_act = false;

	//flag para enviar solo 1 vez el semaforo
	bool flag_ctrl_curva = false;

	//Puntero a cadena transmision
	char *p_tx;

	//Puntero a mediciones de V e I
	MEDICIONES_TypeDef* p_mediciones;

	//Puntero a estructura pid
	PID_TypeDef* p_pid = NULL;
	uint32_t referencia = 0;

	// Inicializo variable carga electronica
	CARGAPresente.modo = m_apagado;
	CARGAPresente.error.completo = 0;
	CARGAPresente.setPoint = 0;
	CARGAPresente.valorCorriente = 0;
	CARGAPresente.valorTension = 0;
	CARGAPresente.valorPotencia = 0;
	CARGAPresente.flagFecha = 0;
	CARGAPresente.flagTrigger = 0;
	CARGAPresente.temperatura = 0;

	/* Inicializo DAC */
	DAC_init();

	/* Inicializo Fecha en GUI */
	//Espero 3 segundos que se inicialice GUI
	osDelay(3000);
	if(!fecha_act){
		for (uint8_t i=0; i<3;i++){
			p_tx = osPoolAlloc(mpool);
			if( p_tx != NULL ){
				sprintf(p_tx,"hmU%02d%02d%02d%02d%02d",sTime.Hours,\
						sTime.Minutes, sDate.Date, sDate.Month, sDate.Year);

				// Envio la cadena a transmitir task comunicacion_spi
				osMessagePut(colaSPI_TX, (uint32_t)p_tx, 50);
			}
			p_tx = NULL;
		}
		fecha_act = true;
	}

	/* Infinite loop */
	for (;;)
	{
		//Leo tension y corriente de la cola mediciones que envio la tarea medicion_variables.
		evt = osMessageGet(colaMediciones, 25);
		if(evt.status == osEventMessage){
			//Se tomo la medicion
			p_mediciones = evt.value.p;
			//Actualizo las variables de la carga electronica y verifico
			CARGAPresente.valorCorriente = (uint32_t)p_mediciones->corriente;
			CARGAPresente.valorTension = (uint32_t)p_mediciones->tension;
			CARGAPresente.valorPotencia = (uint32_t)p_mediciones->potencia;
			// Liberar memoria asignada para el mensaje
			osPoolFree(mpoolMediciones, p_mediciones);

		}else if(evt.status == osEventTimeout){
			//Error en la tasa de muestreo de la medicion
		}

		//Leo adc temperatura disipador y la envio cada 1segundo
		HAL_ADC_Start(&hadc1);
		CARGAPresente.temperatura = HAL_ADC_GetValue(&hadc1) * 3300 /4096 /10;
		if(c_temp++ == 10){
			p_tx = osPoolAlloc(mpool);
			if( p_tx != NULL ){

				// Carga la cadena a transmitir
				sprintf(p_tx,"hmR%03lu",(uint32_t)CARGAPresente.temperatura);

				// Envio la cadena a transmitir task comunicacion_spi
				osMessagePut(colaSPI_TX, (uint32_t)p_tx, 25);
			}
			c_temp = 0;//Reseteo flag
		}

		// Envio estado actual de la carga a la GUI
		p_tx = osPoolAlloc(mpool);
		if( p_tx != NULL ){

			// Carga la cadena a transmitir
			sprintf(p_tx,"hmM%02luC%04luV%04luP%04lu",(uint32_t)CARGAPresente.modo,\
					(uint32_t)CARGAPresente.valorCorriente/10,\
					(uint32_t)CARGAPresente.valorTension/10,\
					(uint32_t)CARGAPresente.valorPotencia/100);

			// Envio la cadena a transmitir task comunicacion_spi
			osMessagePut(colaSPI_TX, (uint32_t)p_tx, 25);
		}

		//Recibo msj de la GUI
		while(osMessageAvailableSpace(colaCARGA) < 4){
			evt = osMessageGet(colaCARGA, 40);
			if(evt.status == osEventMessage){
				//Recibi el msj de la GUI
				CARGAUpdate = evt.value.p;

				//Interpreto los modos
				if(CARGAUpdate->modo == m_apagado || \
						CARGAUpdate->modo == m_corriente_off ||\
						CARGAUpdate->modo == m_potencia_off  ||\
						CARGAUpdate->modo == m_tension_off   ||\
						CARGAUpdate->modo == m_corriente_curva_off){
					//Si el modo en GUI es apagado
					c_error = 0;//Reseteo contador error control
					CARGAPresente.error.e_control = 0;//Reseteo error control
				}
				//Modo seteado en GUI
				if(CARGAPresente.modo != CARGAUpdate->modo && !CARGAPresente.error.completo){
					//Si los modos son distintos y no hay error
					if(CARGAUpdate->modo == m_corriente_curva_on && flag_ctrl_curva == true)
						CARGAPresente.modo = m_apagado;
					else
						CARGAPresente.modo = CARGAUpdate->modo;//Cambio de modo
					c_error = 0;//Reseteo contador error control
					//Si apagaron la carga reseteo flag curva
				}
				//Setpoint en GUI
				if(CARGAPresente.setPoint != CARGAUpdate->setPoint){
					//Si cambio el setpoint
					CARGAPresente.setPoint = CARGAUpdate->setPoint;
					c_error = 0;//Reseteo contador error control
				}

				//Libero el msj de la memoria
				osPoolFree(mpoolCARGA_Handle, CARGAUpdate);
				CARGAUpdate = NULL;
			}
			else if(evt.status == osEventTimeout){
				//No recibi msj de la GUI en 200mS
			}
		}

		//Leo cola errores
		evt = osMessageGet(colaErrores, 0);
		if(evt.status == osEventMessage){
			CARGAPresente.error.completo |= (uint32_t)evt.value.v;
			osDelay(1);
			//Error mosfet
			if(CARGAPresente.error.e_mosfet == true)
				CARGAPresente.error.e_mosfet = HAL_GPIO_ReadPin(EMOS1_GPIO_Port, EMOS1_Pin);
			//Error tension inversa
			if(CARGAPresente.error.e_polaridadinversa == true)
				CARGAPresente.error.e_polaridadinversa = HAL_GPIO_ReadPin(V_INV_GPIO_Port, V_INV_Pin) \
				| !HAL_GPIO_ReadPin(BTN_TEST_GPIO_Port, BTN_TEST_Pin);
		}

		//Si hay errores apago la carga y envio a GUI
		if(CARGAPresente.error.completo != 0){
			CARGAPresente.modo = m_apagado;//Apago la carga
			HAL_GPIO_WritePin(prueba_GPIO_Port, prueba_Pin, GPIO_PIN_SET);
			// Envio error actual de la carga a la GUI
			p_tx = osPoolAlloc(mpool);
			if( p_tx != NULL ){

				// Carga la cadena a transmitir
				sprintf(p_tx,"hmE%02lu",(uint32_t)CARGAPresente.error.completo);

				// Envio la cadena a transmitir task comunicacion_spi
				osMessagePut(colaSPI_TX, (uint32_t)p_tx, osWaitForever);
			}
		}else{
			HAL_GPIO_WritePin(prueba_GPIO_Port, prueba_Pin, GPIO_PIN_RESET);
		}

		/* Controlo la carga electronica */
		switch(CARGAPresente.modo){
		/* Apago la carga */
		case  m_corriente_curva_off:
			flag_ctrl_curva = false;
		case m_apagado:
		case m_corriente_off:
		case m_tension_off:
			DAC_set(0);
			referencia = 0;

			break;

		case m_corriente_on:
			/* Modo corriente constante */
			if(CARGAPresente.setPoint > 30000)
				CARGAPresente.setPoint = 0;
			referencia = CARGAPresente.setPoint;
			//Si esta lejos del setpint
			if(abs(CARGAPresente.setPoint - CARGAPresente.valorCorriente) > 100){
				if(++c_error > 20){//Durante un segundo no pudo llegar al setpoint
					CARGAPresente.error.e_control = true;
					referencia = 0;
				}
			}
			else
				c_error = 0;
			break;

		case m_potencia_on:
			/* Modo potencia constante */
			if( CARGAPresente.setPoint > 500000)
				CARGAPresente.setPoint =  0;
			referencia = CARGAPresente.setPoint;
			//Si esta lejos del setpoint
			if(abs(CARGAPresente.setPoint - CARGAPresente.valorPotencia) > 500){
				if(++c_error > 20){//Durante un segundo no pudo llegar al setpoint
					CARGAPresente.error.e_control = true;
					referencia = 0;
				}
			}
			else
				c_error = 0;
			break;

		case m_corriente_curva_on:
			if(flag_ctrl_curva == false){
				osSemaphoreRelease(sph_ctrl_curvaHandle);
				flag_ctrl_curva = true;
			}
			break;

		default:
			DAC_set(0);
			referencia = 0;
		}

		if(CARGAPresente.modo != m_corriente_curva_on){
			//Reservo espacio para enviar msj a cola PID
			p_pid = osPoolAlloc(mpoolPID);
			if( p_pid != NULL){
				//Guardo el valor de referencia y modo a enviar
				p_pid->modo = CARGAPresente.modo;
				p_pid->referencia = referencia;
				osMessagePut(colaPID, (uint32_t)p_pid, 10);
			}
		}

		//Tarea periodica 100mS
		osDelayUntil(&previosWakeTime, 100);

	}
  /* USER CODE END 5 */
}

/* USER CODE BEGIN Header_medicion_variables */
/**
 * @brief Function implementing the medicion thread.
 * @param argument: Not used
 * @retval None
 * Esta funcion toma mediciones del ADC de corriente y tension, les hace un
 * filtro EMA y devuelve los valores obtenidos cada 20Hz.
 */
/* USER CODE END Header_medicion_variables */
void medicion_variables(void const * argument)
{
  /* USER CODE BEGIN medicion_variables */
  float tension = 0, tension_ant = 0;
  float current = 0, current_ant = 0;
  float potencia = 0, potencia_ant = 0;
  float tension_gui = 0, tension_gui_ant = 0;
  float current_gui = 0, current_gui_ant = 0;
  float potencia_gui = 0, potencia_gui_ant = 0;

  /* Para poner a punto escalas y offset - Comentar si esta calibrado  */
  //float promedio = 0, c_mediciones=0;
  //HAL_GPIO_WritePin(VSCALE_GPIO_Port, VSCALE_Pin, GPIO_PIN_SET);//Rango 16V
  //HAL_GPIO_WritePin(VSCALE_GPIO_Port, VSCALE_Pin, GPIO_PIN_RESET);//Rango 160V

  // Estructura mediciones
  MEDICIONES_TypeDef *cargaMediciones;

  //contador para tarea carga control
  uint8_t i=0;

  // Rango 160V False - 16V True
  bool rango = false;
  uint8_t c_rango = 0;

  // Configuro ADS1115 para usar pin de RDY
  ADC_set_rdypin(&hi2c1);

  uint32_t previosWakeTime = osKernelSysTick();

  //Limpio semaforos
  osSemaphoreWait(sph_eth_medicionesHandle, 0);
  osSemaphoreWait(sph_pid_medicionesHandle, 0);

  /* Infinite loop */
  for (;;)
  {
	  /* Medicion de Corriente con filtro EMA */
	  current = current_ant * (1 - 1) + 1 * ADC_read_current(&hi2c1);
	  current_ant = current;
	  current_gui = current_gui_ant * (1-0.8) + 0.8 * current;
	  current_gui_ant = current_gui;
	  //promedio += current;
	 // c_mediciones++;
	  /* Medicion de Tension con filtro EMA*/
	  tension = tension_ant * (1 - 0.8) + 0.8 * ADC_read_tension(&hi2c1, rango);
	  tension_ant = tension;
	  tension_gui = tension_gui_ant * (1-0.4) + 0.4 * tension;
	  tension_gui_ant = tension_gui;

	  /* Medicion de Potencia con filtro EMA */
	  potencia = potencia_ant  * (1 - 0.8) + 0.8 * (tension * current)/1000;
	  potencia_ant = potencia;
	  potencia_gui = potencia_gui_ant * (1-0.3) + 0.3 * potencia;
	  potencia_gui_ant = potencia_gui;

	  // Si la tension < 0 normalizo
	  if (tension < 0)
		  tension = 0;

	  // Verificar en que rango estamos de tension
	  if(rango == true){
		  // Rango 16V

		  if( tension > 16000){
			  // Tension mayor al rango min
			  c_rango++;

			  if(c_rango > 2){
				  //Lo supero 3 veces consecutiva(6ms) -> cambio rango a 160V
				  rango = false;
				  HAL_GPIO_WritePin(VSCALE_GPIO_Port, VSCALE_Pin, GPIO_PIN_RESET);
				  c_rango = 0;
			  }
		  }
		  else // Tension menor al rango max
			  c_rango = 0;

	  } else {
		  // Rango 160V

		  if(tension < 15500){
			  // Tension menor al rango min
			  c_rango++;

			  if(c_rango > 20){
				  // Estuvo por debajo 20 veces consecutivas (40ms)
				  // -> Cambio rango a 16V.
				  rango = true;
				  HAL_GPIO_WritePin(VSCALE_GPIO_Port, VSCALE_Pin, GPIO_PIN_SET);
				  c_rango = 0;
			  }
		  }
		  else
			  c_rango = 0;
	  }

	  // Envio las mediciones tasa 10Hz.
	  if( i++ == 3){
		  cargaMediciones = osPoolAlloc(mpoolMediciones);
		  if ( cargaMediciones != NULL ){
			  // Guardo los valores de las variables a enviar.
			  cargaMediciones->corriente = current_gui;
			  cargaMediciones->tension = tension_gui;
			  cargaMediciones->potencia = potencia_gui;
			  osMessagePut(colaMediciones, (uint32_t)cargaMediciones, 0);
		  }
		  cargaMediciones = NULL;
		  i = 0;
	  }

	  // Envio las mediciones a tarea pid
	  if( osSemaphoreWait(sph_pid_medicionesHandle, 0) == osOK){
		  cargaMediciones = osPoolAlloc(mpoolMediciones_pid);
		  if ( cargaMediciones != NULL ){
			  cargaMediciones->corriente = current;
			  cargaMediciones->tension = tension;
			  cargaMediciones->potencia = potencia;
			  osMessagePut(colaMediciones_pid, (uint32_t)cargaMediciones, 2);
		  }
		  cargaMediciones = NULL;
	  }

	  //Envio las mediciones a tarea eth_task
	  if( osSemaphoreWait(sph_eth_medicionesHandle, 0) == osOK){
		  cargaMediciones = osPoolAlloc(mpoolMediciones_eth);
		  if ( cargaMediciones != NULL ){
			  cargaMediciones->corriente = current_gui;
			  cargaMediciones->tension = tension_gui;
			  cargaMediciones->potencia = potencia_gui;
			  osMessagePut(colaMediciones_eth, (uint32_t)cargaMediciones, 2);
		  }
		  cargaMediciones = NULL;
	  }

	  // Bloqueo la tarea 15ms * 10 veces = 50mS
	  osDelayUntil(&previosWakeTime, 15);
	  //HAL_GPIO_TogglePin(prueba_GPIO_Port, prueba_Pin);
  }

  /* USER CODE END medicion_variables */
}

void comunicacion_spi(void const * argument)
{
  /* USER CODE BEGIN comunicacion_spi */
	uint8_t array_SPI_RX[21] = "soyTuPuntero";

	CARGA_HandleTypeDef *updateCarga;

	//Obtengo fecha y hora guardados en RTC
	HAL_RTC_GetTime(&hrtc, &sTime, RTC_FORMAT_BIN);
	HAL_RTC_GetDate(&hrtc, &sDate, RTC_FORMAT_BIN);

	// Definiciones de cola
	char *pArrayFromCola;
	osEvent evt;

	//Recuerdo de valores anteriores
	enum modos_carga modo_anterior;
	uint32_t setpoint_anterior;

	/* Infinite loop */
	for (;;)
	{
		// Recibo msj a transmitir de la task default
		evt = osMessageGet(colaSPI_TX, osWaitForever);
		// Respondo en base a los datos recibidos del ESP32
		if (evt.status == osEventMessage)
		{
			pArrayFromCola = evt.value.p;

			// Reservo un espacio de memoria para asignar los datos recibidos
			updateCarga = osPoolAlloc(mpoolCARGA_Handle);

			if( updateCarga != NULL){

				HAL_GPIO_WritePin(GPIOB, GPIO_PIN_12, GPIO_PIN_RESET);
				HAL_SPI_TransmitReceive(&hspi2, (uint8_t*)pArrayFromCola, array_SPI_RX, 21, HAL_MAX_DELAY);
				HAL_GPIO_WritePin(GPIOB, GPIO_PIN_12, GPIO_PIN_SET);

				// Interpreto cadena recibida
				if (array_SPI_RX[0] == 'r' && array_SPI_RX[1] == 's')
				{
					// Recibo y guardo setpoint y modo y verifico peticiones
					if(array_SPI_RX[2] == 'M'){
						updateCarga->modo = (enum modos_carga)(((uint8_t)array_SPI_RX[3] - 48) * 10 + ((uint8_t)array_SPI_RX[4] - 48));
						sscanf((char*) array_SPI_RX, "%*[^S]S%4lu", &updateCarga->setPoint); //Actualizo el setpoint en el CargaHandle local de esta tarea
						if(updateCarga->modo == m_corriente_on || updateCarga->modo == m_corriente_off)
							updateCarga->setPoint *=100;
						else if(updateCarga->modo == m_potencia_on|| updateCarga->modo == m_potencia_off)
							updateCarga->setPoint *= 100;
						else if(updateCarga->modo == m_tension_on|| updateCarga->modo == m_tension_off)
							updateCarga->setPoint *= 100;
						//Guardo el modo anterior y setpoint
						modo_anterior = updateCarga->modo;
						setpoint_anterior = updateCarga->setPoint;

						//Aca hago el trigger
						updateCarga->flagTrigger = array_SPI_RX[13];
						if (array_SPI_RX[13] == '1')
						{// TRIGGER ACTIVADO Y LISTO PARA EL SERVICIO
							__NOP();
						}

						// Si hay que modificar fecha
						updateCarga->flagFecha = array_SPI_RX[11];
						if (array_SPI_RX[11] == '1')
						{
							uint8_t arrayFecha[21] = "hmF";
							HAL_GPIO_WritePin(GPIOB, GPIO_PIN_12, GPIO_PIN_RESET);
							HAL_SPI_TransmitReceive(&hspi2, arrayFecha, array_SPI_RX, 21, HAL_MAX_DELAY);
							HAL_GPIO_WritePin(GPIOB, GPIO_PIN_12, GPIO_PIN_SET);

							//Aca guardo la fecha y hora
							sscanf((char*) array_SPI_RX, "%*[^F]F%2c%2c%2c%2c%2c", &sTime.Hours, &sTime.Minutes, &sDate.Date, &sDate.Month, &sDate.Year);
							HAL_RTC_SetDate(&hrtc, &sDate, RTC_FORMAT_BIN);
							HAL_RTC_SetTime(&hrtc, &sTime, RTC_FORMAT_BIN);
						}

						//Pidieron sincronizar los datos de la curva (recibi A1)
						if(array_SPI_RX[15] == '1' ){
							osDelay(25);
							HAL_GPIO_WritePin(GPIOB, GPIO_PIN_12, GPIO_PIN_RESET);
							HAL_SPI_TransmitReceive(&hspi2,"hmA1", array_SPI_RX, 21, HAL_MAX_DELAY);
							HAL_GPIO_WritePin(GPIOB, GPIO_PIN_12, GPIO_PIN_SET);
						}
					}

					//Empezaron a llegar los datos de la curva
					if(array_SPI_RX[2] == 'A'){
						//le pido los10 puntos
						char *msg_completo;
						char aux[21];
						msg_completo = osPoolAlloc(mpoolCurva);
						if( msg_completo != NULL){

							for(uint8_t i=0; i<21; i++){
								aux[i] = (char)array_SPI_RX[i];
							}
							strcat(msg_completo, aux);

							for(uint8_t contador = 0; contador < 4 ; contador++){
								osDelay(25);
								HAL_GPIO_WritePin(GPIOB, GPIO_PIN_12, GPIO_PIN_RESET);
								HAL_SPI_TransmitReceive(&hspi2,"hmA0", array_SPI_RX, 21, HAL_MAX_DELAY);
								HAL_GPIO_WritePin(GPIOB, GPIO_PIN_12, GPIO_PIN_SET);
								for(uint8_t i=0; i<21; i++){
									aux[i] = (char)array_SPI_RX[i];
								}
								strcat(msg_completo, aux);
							}
							osMessagePut(colaCurva, (uint32_t)msg_completo, osWaitForever);
							osDelay(25);
						}
						updateCarga->modo = modo_anterior;
						updateCarga->setPoint = setpoint_anterior;
					}//Terminaron de llegar los datos de la curva
				}

				// Envio los datos analizados task default
				osMessagePut(colaCARGA, (uint32_t) updateCarga, osWaitForever);
				osDelay(25);
			}
			// Liberar memoria asignada para el mensaje recibido
			osPoolFree(mpool, pArrayFromCola);

		}
	}

  /* USER CODE END comunicacion_spi */
}

void pid_control(void const * argument)
{
  /* USER CODE BEGIN pid_control */
	float a,b,c;                       		//constantes del PID voltaje
	float rT,eT,iT,dT,yT,yT0,uT,iT0,eT0;   	//variables de ecuaciones de PID voltaje
	float pid_max,pid_min;             		//límites máximo y mínimo de control.
	float setpoint_potencia = 0;			//setpoint potencia

	osEvent evt;

	uint32_t previosWakeTime = osKernelSysTick();

	//Puntero a estructura pid
	PID_TypeDef *p = NULL;
	enum modos_carga modo = m_apagado;

	//Puntero a mediciones de V e I
	MEDICIONES_TypeDef* p_mediciones;

	pid_min = PID_MIN;
	pid_max = PID_MAX;
	iT0 = 0.0;
	eT0 = 0.0;

	rT = PID_SETPOINT;

	a = PID_A;
	b = PID_B;
	c = PID_C;

	uint32_t c_error=0;

	/* Infinite loop */
	for(;;)
	{

		//Recibo señal de referencia y modo
		evt = osMessageGet(colaPID, 0);
		if(evt.status == osEventMessage){

			p = evt.value.p;
			modo = (enum modos_carga)p->modo;
			if(modo == m_corriente_on)
				rT = (float)p->referencia; //Señal de referencia
			else if(modo == m_potencia_on)
				setpoint_potencia = (float)p->referencia;

			//Libero memoria asignada para el msj
			osPoolFree(mpoolPID, p);
		}

		//Si la carga esta encendida
		if(modo == m_corriente_on || modo == m_potencia_on){

			//Le digo a mediciones que quiero el dato
			osSemaphoreRelease(sph_pid_medicionesHandle);

			//Recibo valor de corriente medida
			evt = osMessageGet(colaMediciones_pid, osWaitForever);
			if(evt.status == osEventMessage){

				p_mediciones = evt.value.p;
				//Leo el valor de corriente
				yT = p_mediciones->corriente; //Señal de corriente

				if(modo == m_potencia_on){
					if( p_mediciones->tension > 0)
						rT = setpoint_potencia * 1000 / p_mediciones->tension;
					else
						rT = 0;
				}

				// Liberar memoria asignada para el mensaje
				osPoolFree(mpoolMediciones_pid, p_mediciones);
			}

			//Hago las tareas del pid
			if(rT != 0){
				//Si la referencia es distinta de 0

				eT = rT - yT; //Cálculo error corriente

				if(eT > 12 || eT < -12 ){

					if(c_error++ > 5 || modo == m_potencia_on){

						iT = b * ( eT + eT0 ) + iT0; //Cálculo del término integral corriente

						/*Limite termino integral corriente*/
						if ( iT > pid_max )
							iT = pid_max; //Salida integral si es mayor que el MAX
						else if ( iT < pid_min )
							iT = pid_min; //Salida integral si es menor que el MIN

						dT = -c * ( yT - yT0 );	//Cálculo del término derivativo corriente
						uT = iT + a * eT + dT; //Cálculo de la salida PID corriente

						/*Limite PID corriente*/
						if ( uT > pid_max )
							uT = pid_max;           //Salida PID si es mayor que el MAX
						else if ( uT < pid_min )
							uT = pid_min;      //Salida PID si es menor que el MIN

						/* Guardar variables */
						iT0 = iT;
						eT0 = eT;
						yT0 = yT;

						DAC_set(uT);
					}
					else
						eT0 = eT;
				}
				else{
					eT0 = eT;
					c_error = 0;
				}
			}
			else
				DAC_set(0);

			//Bloqueo la tarea 5mS
			osDelayUntil(&previosWakeTime, 15);
		}
		else
			osDelay(70);

	}
  /* USER CODE END pid_control */
}

void eth_task(void const * argument)
{
  /* USER CODE BEGIN eth_task */
  /* Infinite loop */
  for(;;)
  {
	  /* Inicializo ethernet */
	  eth_start();

	  while(1){
		  //HTTP inicio
		  for(uint8_t j = 0; j < 2; j++)	httpServer_run(j); 	// HTTP Server handler
		  osDelay(250);
	  }
  }
  /* USER CODE END eth_task */
}

void cb_control_curva(void const * argument)
{
  /* USER CODE BEGIN cb_control_curva */
	osEvent evt;

	//Punteros
	char *p;
	PID_TypeDef *p_pid;
	CARGA_HandleTypeDef *updateCarga;

	int matriz[10][2];

	//Limpio semaforo
	osSemaphoreWait(sph_ctrl_curvaHandle, 0);

  /* Infinite loop */
	for(;;)
	{
		evt = osMessageGet(colaCurva, 100);
		if(evt.status == osEventMessage){
			p = evt.value.p;

			for(uint8_t i=0; i<5; i++){

				sscanf(p + i * 20,"rsA%4d%4dA%4d%4d",&matriz[i*2][0], &matriz[i*2][1],&matriz[i*2+1][0],&matriz[i*2+1][1]);
			}
			//Libero memoria
			osPoolFree(mpoolCurva, p);
		}

		if(osSemaphoreWait(sph_ctrl_curvaHandle, 0) == osOK){

			//Le paso a la tarea pid las referencias cuando pase el tiempo
			for(uint8_t i=0; i<10 && matriz[i][0]!= 0; i++){

				p_pid = osPoolAlloc(mpoolPID);
				if( p_pid != NULL){
					//Guardo el valor de referencia y modo a enviar
					p_pid->modo = m_corriente_on;
					p_pid->referencia = matriz[i][1] * 100;
					osMessagePut(colaPID, (uint32_t)p_pid, osWaitForever);

					osDelay((uint32_t)(matriz[i][0]*100));
				}
			}//fin puntos

			p_pid = osPoolAlloc(mpoolPID);
			if( p_pid != NULL){
				//Guardo el valor de referencia y modo a enviar
				p_pid->modo = m_corriente_off;
				p_pid->referencia = 0;
				osMessagePut(colaPID, (uint32_t)p_pid, osWaitForever);
			}

			//Cuadno termino apago la carga
			// Reservo un espacio de memoria para asignar los datos recibidos
			updateCarga = osPoolAlloc(mpoolCARGA_Handle);
			while(updateCarga == NULL){
				osDelay(100);
				updateCarga = osPoolAlloc(mpoolCARGA_Handle);
			}
			if(updateCarga != NULL){
				updateCarga->modo = m_apagado;

				osMessagePut(colaCARGA, (uint32_t)updateCarga, osWaitForever);
			}

		}//termine de pasarle los datos

	}
  /* USER CODE END cb_control_curva */
}

void Error_Handler(void)
{
  __disable_irq();
  while (1)
  {
  }
}

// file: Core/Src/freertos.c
/* USER CODE BEGIN Header */
/**
  ******************************************************************************
  * File Name          : freertos.c
  * Description        : Code for freertos applications
  ******************************************************************************
  * @attention
  *
  * Copyright (c) 2023 STMicroelectronics.
  * All rights reserved.
  *
  * This software is licensed under terms that can be found in the LICENSE file
  * in the root directory of this software component.
  * If no LICENSE file comes with this software, it is provided AS-IS.
  *
  ******************************************************************************
  */
/* USER CODE END Header */

#include "FreeRTOS.h"
#include "task.h"
#include "main.h"

/* GetIdleTaskMemory prototype (linked to static allocation support) */
void vApplicationGetIdleTaskMemory( StaticTask_t **ppxIdleTaskTCBBuffer, StackType_t **ppxIdleTaskStackBuffer, uint32_t *pulIdleTaskStackSize );

/* Hook prototypes */
void vApplicationStackOverflowHook(xTaskHandle xTask, signed char *pcTaskName);

/* USER CODE BEGIN 4 */
__weak void vApplicationStackOverflowHook(xTaskHandle xTask, signed char *pcTaskName)
{
   /* Run time stack overflow checking is performed if
   configCHECK_FOR_STACK_OVERFLOW is defined to 1 or 2. This hook function is
   called if a stack overflow is detected. */
	while(1);
}
/* USER CODE END 4 */

/* USER CODE BEGIN GET_IDLE_TASK_MEMORY */
static StaticTask_t xIdleTaskTCBBuffer;
static StackType_t xIdleStack[configMINIMAL_STACK_SIZE];

void vApplicationGetIdleTaskMemory( StaticTask_t **ppxIdleTaskTCBBuffer, StackType_t **ppxIdleTaskStackBuffer, uint32_t *pulIdleTaskStackSize )
{
  *ppxIdleTaskTCBBuffer = &xIdleTaskTCBBuffer;
  *ppxIdleTaskStackBuffer = &xIdleStack[0];
  *pulIdleTaskStackSize = configMINIMAL_STACK_SIZE;
  /* place for user code */
}
/* USER CODE END GET_IDLE_TASK_MEMORY */
